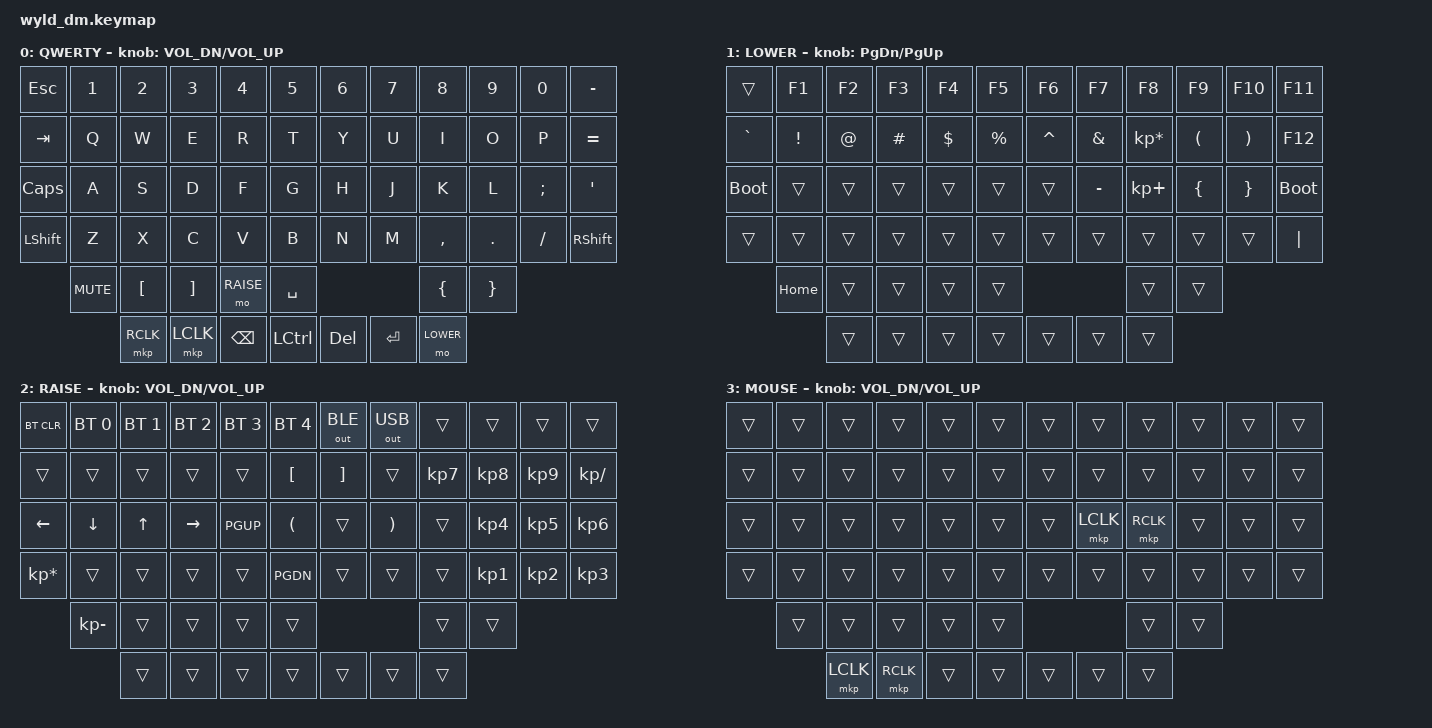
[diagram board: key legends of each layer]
/*
 * Copyright (c) 2020 The ZMK Contributors
 *
 * SPDX-License-Identifier: MIT
 */

#include <behaviors/mouse_keys.dtsi>
#include <behaviors.dtsi>
#include <dt-bindings/zmk/bt.h>
#include <dt-bindings/zmk/keys.h>
#include <dt-bindings/zmk/mouse.h>
#include <dt-bindings/zmk/outputs.h>

#define QWERTY 0
#define LOWER 1
#define RAISE 2

/ {
    keymap {
        compatible = "zmk,keymap";

        default_layer {
            display-name = "QWERTY";
            bindings = <
&kp ESC    &kp N1      &kp N2            &kp N3             &kp N4     &kp N5     &kp N6   &kp N7     &kp N8          &kp N9           &kp N0    &kp MINUS
&kp TAB    &kp Q       &kp W             &kp E              &kp R      &kp T      &kp Y    &kp U      &kp I           &kp O            &kp P     &kp EQUAL
&kp CAPS   &kp A       &kp S             &kp D              &kp F      &kp G      &kp H    &kp J      &kp K           &kp L            &kp SEMI  &kp SQT
&kp LSHFT  &kp Z       &kp X             &kp C              &kp V      &kp B      &kp N    &kp M      &kp COMMA       &kp DOT          &kp FSLH  &kp RSHFT
           &kp K_MUTE  &kp LEFT_BRACKET  &kp RIGHT_BRACKET  &mo RAISE  &kp SPACE                      &kp LEFT_BRACE  &kp RIGHT_BRACE
                       &mkp RCLK         &mkp LCLK          &kp BSPC   &kp LCTRL  &kp DEL  &kp ENTER  &mo LOWER
            >;

            sensor-bindings = <&inc_dec_kp C_VOL_DN C_VOL_UP>;
        };

        lower_layer {
            display-name = "LOWER";
            bindings = <
&trans       &kp F1    &kp F2  &kp F3    &kp F4      &kp F5     &kp F6     &kp F7     &kp F8           &kp F9    &kp F10   &kp F11
&kp GRAVE    &kp EXCL  &kp AT  &kp HASH  &kp DOLLAR  &kp PRCNT  &kp CARET  &kp AMPS   &kp KP_MULTIPLY  &kp LPAR  &kp RPAR  &kp F12
&bootloader  &trans    &trans  &trans    &trans      &trans     &trans     &kp MINUS  &kp KP_PLUS      &kp LBRC  &kp RBRC  &bootloader
&trans       &trans    &trans  &trans    &trans      &trans     &trans     &trans     &trans           &trans    &trans    &kp PIPE
             &kp HOME  &trans  &trans    &trans      &trans                           &trans           &trans
                       &trans  &trans    &trans      &trans     &trans     &trans     &trans
            >;

            sensor-bindings = <&inc_dec_kp PG_DN PG_UP>;
        };

        raise_layer {
            display-name = "RAISE";
            bindings = <
&bt BT_CLR       &bt BT_SEL 0  &bt BT_SEL 1  &bt BT_SEL 2  &bt BT_SEL 3  &bt BT_SEL 4  &out OUT_BLE  &out OUT_USB  &trans     &trans     &trans     &trans
&trans           &trans        &trans        &trans        &trans        &kp LBKT      &kp RBKT      &trans        &kp KP_N7  &kp KP_N8  &kp KP_N9  &kp KP_DIVIDE
&kp LEFT         &kp DOWN      &kp UP        &kp RIGHT     &kp PGUP      &kp LPAR      &trans        &kp RPAR      &trans     &kp KP_N4  &kp KP_N5  &kp KP_N6
&kp KP_MULTIPLY  &trans        &trans        &trans        &trans        &kp PGDN      &trans        &trans        &trans     &kp KP_N1  &kp KP_N2  &kp KP_N3
                 &kp KP_MINUS  &trans        &trans        &trans        &trans                                    &trans     &trans
                               &trans        &trans        &trans        &trans        &trans        &trans        &trans
            >;

            sensor-bindings = <&inc_dec_kp C_VOL_DN C_VOL_UP>;
        };

        mouse_layer {
            display-name = "MOUSE";
            bindings = <
&trans  &trans  &trans     &trans     &trans  &trans  &trans  &trans     &trans     &trans  &trans  &trans
&trans  &trans  &trans     &trans     &trans  &trans  &trans  &trans     &trans     &trans  &trans  &trans
&trans  &trans  &trans     &trans     &trans  &trans  &trans  &mkp LCLK  &mkp RCLK  &trans  &trans  &trans
&trans  &trans  &trans     &trans     &trans  &trans  &trans  &trans     &trans     &trans  &trans  &trans
        &trans  &trans     &trans     &trans  &trans                     &trans     &trans
                &mkp LCLK  &mkp RCLK  &trans  &trans  &trans  &trans     &trans
            >;

            sensor-bindings = <&inc_dec_kp C_VOL_DN C_VOL_UP>;
        };
    };
};
